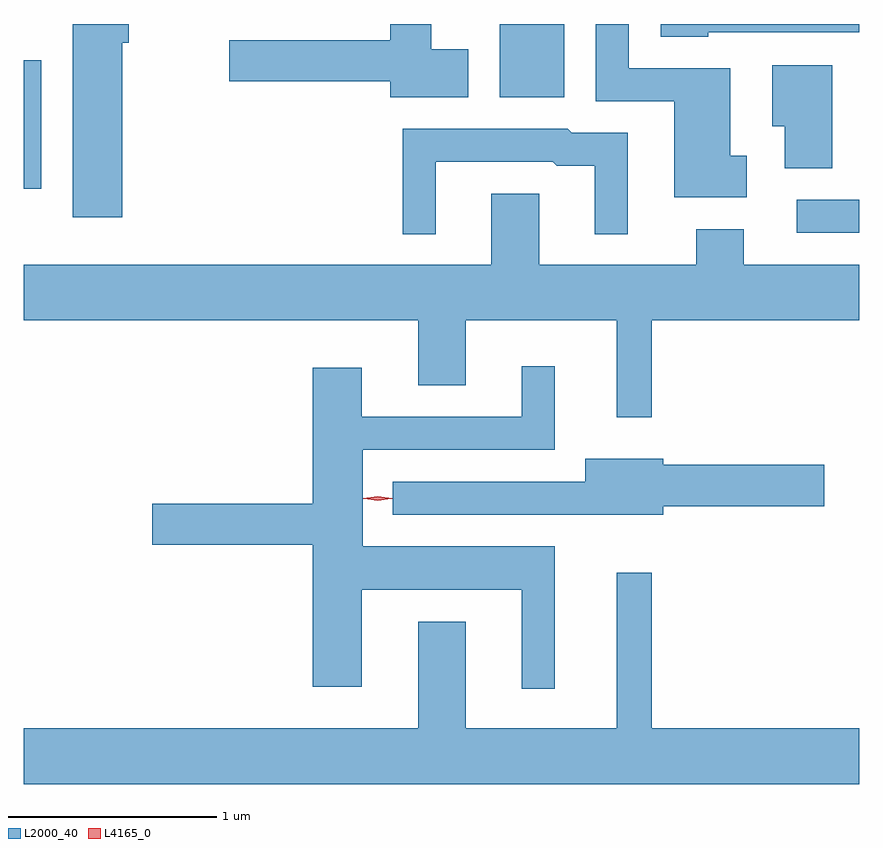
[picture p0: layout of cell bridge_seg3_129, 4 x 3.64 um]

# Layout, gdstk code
import gdstk
lib = gdstk.Library(unit=1e-6, precision=1e-09)
def R(c, l, rs):  # rectangles x0, y0, x1, y1
    for r in rs: c.add(gdstk.rectangle(r[:2], r[2:], *l))
def P(c, l, *ps):  # polygons
    for p in ps: c.add(gdstk.Polygon(p, *l))
L2000_40 = (2000, 40)
L4165_0 = (4165, 0)

bridge_seg3_129 = lib.new_cell('bridge_seg3_129')
R(bridge_seg3_129, L2000_40, [(902.853,1232.996,903.152,1233.154), (899.152,1233.206,899.234,1233.823), (901.431,1233.646,901.739,1233.996)])
P(bridge_seg3_129, L2000_40, [(901.279,1233.874),(901.104,1233.874),(901.104,1233.996),(900.906,1233.996),(900.906,1233.919),(900.136,1233.919),(900.136,1233.721),(900.906,1233.721),(900.906,1233.646),(901.279,1233.646)],
  [(899.624,1233.906),(899.654,1233.906),(899.654,1233.996),(899.386,1233.996),(899.386,1233.071),(899.624,1233.071)],
  [(902.429,1233.956),(903.152,1233.956),(903.152,1233.996),(902.201,1233.996),(902.201,1233.936),(902.429,1233.936)],
  [(902.614,1233.364),(902.534,1233.364),(902.534,1233.784),(902.049,1233.784),(902.049,1233.996),(901.891,1233.996),(901.891,1233.626),(902.266,1233.626),(902.266,1233.166),(902.614,1233.166)],
  [(903.024,1233.799),(902.736,1233.799),(902.736,1233.506),(902.796,1233.506),(902.796,1233.306),(903.024,1233.306)],
  [(901.124,1233.336),(901.684,1233.336),(901.704,1233.316),(901.886,1233.316),(901.886,1232.988),(902.044,1232.988),(902.044,1233.474),(901.777,1233.474),(901.757,1233.494),(900.966,1233.494),(900.966,1232.988),(901.124,1232.988)],
  [(902.159,1232.576),(903.152,1232.576),(903.152,1232.844),(902.599,1232.844),(902.599,1233.014),(902.371,1233.014),(902.371,1232.844),(901.619,1232.844),(901.619,1233.184),(901.391,1233.184),(901.391,1232.844),(899.152,1232.844),(899.152,1232.576),(901.041,1232.576),(901.041,1232.266),(901.269,1232.266),(901.269,1232.576),(901.991,1232.576),(901.991,1232.113),(902.159,1232.113)],
  [(901.694,1231.494),(900.774,1231.494),(900.774,1231.956),(901.694,1231.956),(901.694,1232.358),(901.536,1232.358),(901.536,1232.114),(900.769,1232.114),(900.769,1232.349),(900.536,1232.349),(900.536,1231.699),(899.766,1231.699),(899.766,1231.501),(900.536,1231.501),(900.536,1230.821),(900.769,1230.821),(900.769,1231.286),(901.536,1231.286),(901.536,1230.813),(901.694,1230.813)],
  [(902.214,1231.686),(902.984,1231.686),(902.984,1231.884),(902.214,1231.884),(902.214,1231.914),(901.841,1231.914),(901.841,1231.804),(900.918,1231.804),(900.918,1231.646),(902.214,1231.646)],
  [(903.152,1230.624),(902.159,1230.624),(902.159,1231.368),(901.991,1231.368),(901.991,1230.624),(901.269,1230.624),(901.269,1231.134),(901.041,1231.134),(901.041,1230.624),(899.152,1230.624),(899.152,1230.356),(903.152,1230.356)])
P(bridge_seg3_129, L4165_0, [(900.847,1231.714),(900.778,1231.723),(900.777,1231.723),(900.778,1231.724),(900.846,1231.734),(900.916,1231.724),(900.916,1231.724),(900.916,1231.723)],
  [(900.847,1231.713),(900.782,1231.723),(900.782,1231.723),(900.782,1231.724),(900.847,1231.733),(900.912,1231.724),(900.913,1231.723),(900.912,1231.723)])

lib.write_gds('bridge_seg3_129.gds')
